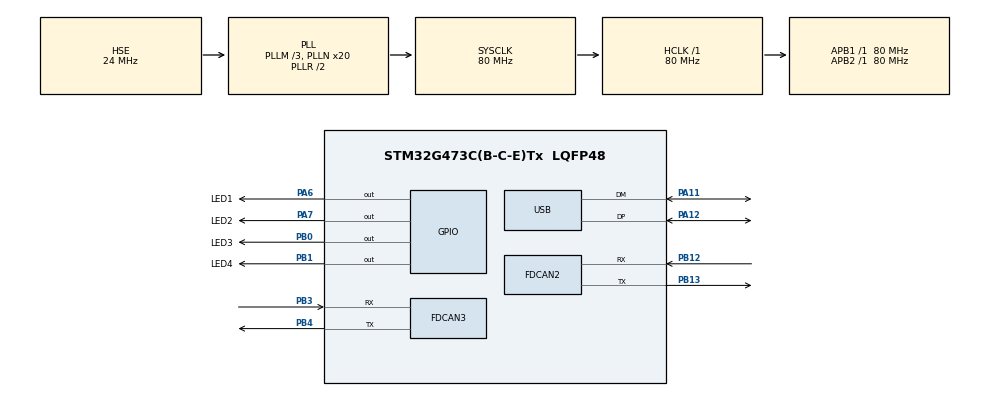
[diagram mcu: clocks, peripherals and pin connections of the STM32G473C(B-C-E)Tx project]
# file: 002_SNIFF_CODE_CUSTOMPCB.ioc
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FDCAN2.AutoRetransmission=ENABLE
FDCAN2.CalculateBaudRateNominal=500000
FDCAN2.CalculateTimeBitNominal=2000
FDCAN2.CalculateTimeQuantumNominal=125.0
FDCAN2.NominalPrescaler=10
FDCAN2.NominalTimeSeg1=13
FDCAN2.NominalTimeSeg2=2
FDCAN2.ProtocolException=ENABLE
FDCAN2.StdFiltersNbr=1
FDCAN3.AutoRetransmission=ENABLE
FDCAN3.CalculateBaudRateNominal=500000
FDCAN3.CalculateTimeBitNominal=2000
FDCAN3.CalculateTimeQuantumNominal=125.0
FDCAN3.NominalPrescaler=10
FDCAN3.NominalTimeSeg1=13
FDCAN3.NominalTimeSeg2=2
FDCAN3.ProtocolException=ENABLE
FDCAN3.StdFiltersNbr=1
Mcu.Family=STM32G4
Mcu.Name=STM32G473C(B-C-E)Tx
Mcu.Package=LQFP48
NVIC.FDCAN2_IT0_IRQn=true\:7\:0\:true\:false\:true\:true\:true\:true
NVIC.FDCAN2_IT1_IRQn=true\:7\:0\:true\:false\:true\:true\:true\:true
NVIC.FDCAN3_IT0_IRQn=true\:7\:0\:true\:false\:true\:true\:true\:true
NVIC.FDCAN3_IT1_IRQn=true\:7\:0\:true\:false\:true\:true\:true\:true
NVIC.PriorityGroup=NVIC_PRIORITYGROUP_4
NVIC.TIM6_DAC_IRQn=true\:15\:0\:false\:false\:true\:false\:true\:true
NVIC.TimeBase=TIM6_DAC_IRQn
NVIC.TimeBaseIP=TIM6
NVIC.USB_LP_IRQn=true\:6\:0\:true\:false\:true\:true\:true\:true
PA11.Mode=Device
PA11.Signal=USB_DM
PA12.Mode=Device
PA12.Signal=USB_DP
PA13.Mode=Serial_Wire
PA13.Signal=SYS_JTMS-SWDIO
PA14.Mode=Serial_Wire
PA14.Signal=SYS_JTCK-SWCLK
PA6.GPIO_Label=LED1
PA6.Signal=GPIO_Output
PA7.GPIO_Label=LED2
PA7.Signal=GPIO_Output
PB0.GPIO_Label=LED3
PB0.Signal=GPIO_Output
PB1.GPIO_Label=LED4
PB1.Signal=GPIO_Output
PB12.Mode=FDCAN_Activate
PB12.Signal=FDCAN2_RX
PB13.Mode=FDCAN_Activate
PB13.Signal=FDCAN2_TX
PB3.Mode=FDCAN_Activate
PB3.Signal=FDCAN3_RX
PB4.Mode=FDCAN_Activate
PB4.Signal=FDCAN3_TX
PF0-OSC_IN.Mode=HSE-External-Oscillator
PF0-OSC_IN.Signal=RCC_OSC_IN
PF1-OSC_OUT.Mode=HSE-External-Oscillator
PF1-OSC_OUT.Signal=RCC_OSC_OUT
ProjectManager.HeapSize=0x200
ProjectManager.StackSize=0x400
ProjectManager.TargetToolchain=STM32CubeIDE
RCC.ADC12Freq_Value=80000000
RCC.ADC345Freq_Value=80000000
RCC.AHBFreq_Value=80000000
RCC.APB1Freq_Value=80000000
RCC.APB1TimFreq_Value=80000000
RCC.APB2Freq_Value=80000000
RCC.APB2TimFreq_Value=80000000
RCC.CK48CLockSelection=RCC_USBCLKSOURCE_HSI48
RCC.CortexFreq_Value=80000000
RCC.EXTERNAL_CLOCK_VALUE=12288000
RCC.HCLKFreq_Value=80000000
RCC.HSE_VALUE=24000000
RCC.HSI48_VALUE=48000000
RCC.HSI_VALUE=16000000
RCC.LSE_VALUE=32768
RCC.PLLM=RCC_PLLM_DIV3
RCC.PLLN=20
RCC.PLLQ=RCC_PLLQ_DIV4
RCC.PLLSourceVirtual=RCC_PLLSOURCE_HSE
RCC.SYSCLKFreq_VALUE=80000000
RCC.SYSCLKSource=RCC_SYSCLKSOURCE_PLLCLK
RCC.USBFreq_Value=48000000
RCC.VCOOutputFreq_Value=160000000
USB_DEVICE.CLASS_NAME_FS=CDC
USB_DEVICE.VirtualMode=Cdc
USB_DEVICE.VirtualModeFS=Cdc_FS
VP_SYS_VS_DBSignals.Mode=DisableDeadBatterySignals
VP_SYS_VS_tim6.Mode=TIM6
VP_USB_DEVICE_VS_USB_DEVICE_CDC_FS.Mode=CDC_FS
board=custom

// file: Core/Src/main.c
/* USER CODE BEGIN Header */
/**
  ******************************************************************************
  * @file           : main.c
  * @brief          : Main program body
  ******************************************************************************
  * @attention
  *
  * Copyright (c) 2025 STMicroelectronics.
  * All rights reserved.
  *
  * This software is licensed under terms that can be found in the LICENSE file
  * in the root directory of this software component.
  * If no LICENSE file comes with this software, it is provided AS-IS.
  *
  ******************************************************************************
  */
/* USER CODE END Header */
#include "main.h"
#include "usb_device.h"

/* USER CODE BEGIN Includes */
#include "FreeRTOS.h"
#include "task.h"
#include "queue.h"
#include "stm32g4xx_hal_fdcan.h"
#include "process.h"
/* USER CODE END Includes */

/* USER CODE BEGIN PD */

#define FILE_BASED	1

/* USER CODE END PD */

FDCAN_HandleTypeDef hfdcan2;
FDCAN_HandleTypeDef hfdcan3;

/* USER CODE BEGIN PV */
//TaskHandle_t	heartbeatTaskHandle;
//TaskHandle_t	usbRxTaskHandle;
//
//QueueHandle_t	usbRxQueue;
//
//QueueHandle_t	canRxQueue;
//
//QueueHandle_t usbTxQueue;
//
//BaseType_t	status;
/* USER CODE END PV */

void SystemClock_Config(void);
static void MX_GPIO_Init(void);
static void MX_FDCAN2_Init(void);
static void MX_FDCAN3_Init(void);
/* USER CODE BEGIN PFP */
//void HeartbeatTask(void *argument);
//void UsbRxTask(void *argument);
/* USER CODE END PFP */

/* USER CODE BEGIN 0 */

#ifndef FILE_BASED

typedef struct{
	uint32_t id;
	uint8_t dlc;
	uint8_t data[8];
}CANFrame_t;

void HeartbeatTask(void *argument)
{
	(void)argument;

	for(;;)
	{
		HAL_GPIO_TogglePin(LED4_GPIO_Port, LED4_Pin);
		vTaskDelay(pdMS_TO_TICKS(1000));
	}
}

void UsbRxTask(void *argument)
{
	(void)argument;
	uint8_t cmdByte;

	for(;;)
	{
		if (xQueueReceive(usbRxQueue, &cmdByte, portMAX_DELAY)==pdPASS)
		{
			if(cmdByte == 0x10) // Get Device Info
			{
				HAL_GPIO_WritePin(LED1_GPIO_Port, LED1_Pin, GPIO_PIN_SET);
				uint8_t resp[]	=	{ 'T','E','S','T','1','C','H',0x55	};

				while (CDC_Transmit_FS(resp, sizeof(resp))==USBD_BUSY)
				{
					vTaskDelay(pdMS_TO_TICKS(5));
				}
			}

			else if(cmdByte == 0x20) // Disconnect command
			{
			    HAL_GPIO_WritePin(LED1_GPIO_Port, LED1_Pin, GPIO_PIN_RESET);
			}

			else if (cmdByte == 0x30) // CAN TX message
			{
			    uint8_t buf[13];
			    for(int i=0;i<13;i++)
			       xQueueReceive(usbRxQueue,&buf[i],portMAX_DELAY);

			    uint32_t canId = buf[0] | (buf[1]<<8) | (buf[2]<<16) | (buf[3]<<24);
			    uint8_t dlc = buf[4];

				uint32_t dlcEncoded;

				switch(dlc) {
				    case 0: dlcEncoded = FDCAN_DLC_BYTES_0; break;
				    case 1: dlcEncoded = FDCAN_DLC_BYTES_1; break;
				    case 2: dlcEncoded = FDCAN_DLC_BYTES_2; break;
				    case 3: dlcEncoded = FDCAN_DLC_BYTES_3; break;
				    case 4: dlcEncoded = FDCAN_DLC_BYTES_4; break;
				    case 5: dlcEncoded = FDCAN_DLC_BYTES_5; break;
				    case 6: dlcEncoded = FDCAN_DLC_BYTES_6; break;
				    case 7: dlcEncoded = FDCAN_DLC_BYTES_7; break;
				    default: dlcEncoded = FDCAN_DLC_BYTES_8; break;
				}

			    FDCAN_TxHeaderTypeDef TxHeader;
			    TxHeader.Identifier = canId;
			    TxHeader.IdType = FDCAN_STANDARD_ID;
			    TxHeader.TxFrameType = FDCAN_DATA_FRAME;
			    TxHeader.DataLength = dlcEncoded;
			    TxHeader.ErrorStateIndicator = FDCAN_ESI_ACTIVE;
			    TxHeader.BitRateSwitch = FDCAN_BRS_OFF;
			    TxHeader.FDFormat = FDCAN_CLASSIC_CAN;
			    TxHeader.TxEventFifoControl = FDCAN_NO_TX_EVENTS;
			    TxHeader.MessageMarker = 0;

			    HAL_FDCAN_AddMessageToTxFifoQ(&hfdcan3, &TxHeader, &buf[5]);

			}

			// ADD more command if needed
		}
	}
}

void UsbTxTask(void *argument)
{
    uint8_t resp[14];

    for(;;)
    {
        if (xQueueReceive(usbTxQueue, resp, portMAX_DELAY) == pdPASS)
        {
            // Wait until USB is ready
            while (CDC_Transmit_FS(resp, 14) == USBD_BUSY)
            {
                vTaskDelay(pdMS_TO_TICKS(1));
            }
        }
    }
}

void CAN_RxTask(void *argument)
{
    CANFrame_t frame;
    uint8_t resp[14];

    resp[0] = 0x31; // CAN RX

    for (;;)
    {
        if (xQueueReceive(canRxQueue, &frame, portMAX_DELAY) == pdPASS)
        {
            resp[1] = (frame.id      ) & 0xFF;
            resp[2] = (frame.id >> 8 ) & 0xFF;
            resp[3] = (frame.id >> 16) & 0xFF;
            resp[4] = (frame.id >> 24) & 0xFF;
            resp[5] = frame.dlc;
            memcpy(&resp[6], frame.data, 8);

//            while(CDC_Transmit_FS(resp, 14) == USBD_BUSY)
//                vTaskDelay(pdMS_TO_TICKS(2));
            xQueueSend(usbTxQueue, resp, 0);
        }
    }
}

#endif

void HAL_FDCAN_RxFifo0Callback(FDCAN_HandleTypeDef *hfdcan, uint32_t RxFifo0ITs)
{
    if((RxFifo0ITs & FDCAN_IT_RX_FIFO0_NEW_MESSAGE) != 0)
    {
        FDCAN_RxHeaderTypeDef rxHeader;
        uint8_t rxData[8];
        CANFrame_t frame;

        HAL_FDCAN_GetRxMessage(hfdcan, FDCAN_RX_FIFO0, &rxHeader, rxData);

        frame.id = rxHeader.Identifier;

        // Decode DLC properly
        switch(rxHeader.DataLength) {
            case FDCAN_DLC_BYTES_0: frame.dlc = 0; break;
            case FDCAN_DLC_BYTES_1: frame.dlc = 1; break;
            case FDCAN_DLC_BYTES_2: frame.dlc = 2; break;
            case FDCAN_DLC_BYTES_3: frame.dlc = 3; break;
            case FDCAN_DLC_BYTES_4: frame.dlc = 4; break;
            case FDCAN_DLC_BYTES_5: frame.dlc = 5; break;
            case FDCAN_DLC_BYTES_6: frame.dlc = 6; break;
            case FDCAN_DLC_BYTES_7: frame.dlc = 7; break;
            case FDCAN_DLC_BYTES_8: frame.dlc = 8; break;
            default: frame.dlc = 0; break;
        }

        memcpy(frame.data, rxData, 8);

        xQueueSendFromISR(canRxQueue, &frame, NULL);
    }
}

/* USER CODE END 0 */

int main(void)
{

  /* MCU Configuration--------------------------------------------------------*/

  /* Reset of all peripherals, Initializes the Flash interface and the Systick. */
  HAL_Init();

  /* Configure the system clock */
  SystemClock_Config();

  /* Initialize all configured peripherals */
  MX_GPIO_Init();
  MX_FDCAN2_Init();
  MX_FDCAN3_Init();
  MX_USB_Device_Init();
  /* USER CODE BEGIN 2 */
  HAL_FDCAN_ActivateNotification(&hfdcan3,
                                 FDCAN_IT_RX_FIFO0_NEW_MESSAGE,
                                 0);

  if (HAL_FDCAN_Start(&hfdcan3) != HAL_OK)
  {
      Error_Handler();
  }

//  usbRxQueue =	xQueueCreate(32,sizeof(uint8_t));
//  configASSERT(usbRxQueue != NULL);
//
//  usbTxQueue = xQueueCreate(128, 14);
//  configASSERT(usbTxQueue != NULL);
//
//  canRxQueue	=	xQueueCreate(16,sizeof(CANFrame_t));
//  configASSERT(canRxQueue != NULL);
//
//  xTaskCreate(HeartbeatTask, "HeartBeat", 128, NULL, tskIDLE_PRIORITY+1, &heartbeatTaskHandle);
//
//  xTaskCreate(UsbRxTask, "USB RX", 256, NULL, tskIDLE_PRIORITY+2, &usbRxTaskHandle);
//
//  xTaskCreate(UsbTxTask, "USB_TX", 256, NULL, tskIDLE_PRIORITY+2, NULL);
//
//  xTaskCreate(CAN_RxTask, "CAN RX", 256, NULL, tskIDLE_PRIORITY+2, NULL);

  process_init();

  //Start the scheduler
  vTaskStartScheduler();

  /* USER CODE END 2 */

  /* Infinite loop */
  while (1)
  {

  }
}

void SystemClock_Config(void)
{
  RCC_OscInitTypeDef RCC_OscInitStruct = {0};
  RCC_ClkInitTypeDef RCC_ClkInitStruct = {0};

  /** Configure the main internal regulator output voltage
  */
  HAL_PWREx_ControlVoltageScaling(PWR_REGULATOR_VOLTAGE_SCALE1);

  /** Initializes the RCC Oscillators according to the specified parameters
  * in the RCC_OscInitTypeDef structure.
  */
  RCC_OscInitStruct.OscillatorType = RCC_OSCILLATORTYPE_HSI48|RCC_OSCILLATORTYPE_HSE;
  RCC_OscInitStruct.HSEState = RCC_HSE_ON;
  RCC_OscInitStruct.HSI48State = RCC_HSI48_ON;
  RCC_OscInitStruct.PLL.PLLState = RCC_PLL_ON;
  RCC_OscInitStruct.PLL.PLLSource = RCC_PLLSOURCE_HSE;
  RCC_OscInitStruct.PLL.PLLM = RCC_PLLM_DIV3;
  RCC_OscInitStruct.PLL.PLLN = 20;
  RCC_OscInitStruct.PLL.PLLP = RCC_PLLP_DIV2;
  RCC_OscInitStruct.PLL.PLLQ = RCC_PLLQ_DIV4;
  RCC_OscInitStruct.PLL.PLLR = RCC_PLLR_DIV2;
  if (HAL_RCC_OscConfig(&RCC_OscInitStruct) != HAL_OK)
  {
    Error_Handler();
  }

  /** Initializes the CPU, AHB and APB buses clocks
  */
  RCC_ClkInitStruct.ClockType = RCC_CLOCKTYPE_HCLK|RCC_CLOCKTYPE_SYSCLK
                              |RCC_CLOCKTYPE_PCLK1|RCC_CLOCKTYPE_PCLK2;
  RCC_ClkInitStruct.SYSCLKSource = RCC_SYSCLKSOURCE_PLLCLK;
  RCC_ClkInitStruct.AHBCLKDivider = RCC_SYSCLK_DIV1;
  RCC_ClkInitStruct.APB1CLKDivider = RCC_HCLK_DIV1;
  RCC_ClkInitStruct.APB2CLKDivider = RCC_HCLK_DIV1;

  if (HAL_RCC_ClockConfig(&RCC_ClkInitStruct, FLASH_LATENCY_2) != HAL_OK)
  {
    Error_Handler();
  }
}

static void MX_FDCAN2_Init(void)
{

  hfdcan2.Instance = FDCAN2;
  hfdcan2.Init.ClockDivider = FDCAN_CLOCK_DIV1;
  hfdcan2.Init.FrameFormat = FDCAN_FRAME_CLASSIC;
  hfdcan2.Init.Mode = FDCAN_MODE_NORMAL;
  hfdcan2.Init.AutoRetransmission = ENABLE;
  hfdcan2.Init.TransmitPause = DISABLE;
  hfdcan2.Init.ProtocolException = ENABLE;
  hfdcan2.Init.NominalPrescaler = 10;
  hfdcan2.Init.NominalSyncJumpWidth = 1;
  hfdcan2.Init.NominalTimeSeg1 = 13;
  hfdcan2.Init.NominalTimeSeg2 = 2;
  hfdcan2.Init.DataPrescaler = 1;
  hfdcan2.Init.DataSyncJumpWidth = 1;
  hfdcan2.Init.DataTimeSeg1 = 1;
  hfdcan2.Init.DataTimeSeg2 = 1;
  hfdcan2.Init.StdFiltersNbr = 1;
  hfdcan2.Init.ExtFiltersNbr = 0;
  hfdcan2.Init.TxFifoQueueMode = FDCAN_TX_FIFO_OPERATION;
  if (HAL_FDCAN_Init(&hfdcan2) != HAL_OK)
  {
    Error_Handler();
  }
  /* USER CODE BEGIN FDCAN2_Init 2 */
  FDCAN_FilterTypeDef sFilterConfig = {0};
  sFilterConfig.IdType = FDCAN_STANDARD_ID;
  sFilterConfig.FilterIndex = 0;
  sFilterConfig.FilterType = FDCAN_FILTER_RANGE;
  sFilterConfig.FilterConfig = FDCAN_FILTER_TO_RXFIFO0;
  sFilterConfig.FilterID1 = 0x000;
  sFilterConfig.FilterID2 = 0x7FF;
  HAL_FDCAN_ConfigFilter(&hfdcan2, &sFilterConfig);
  HAL_FDCAN_ConfigGlobalFilter(&hfdcan2,
                               FDCAN_REJECT,
                               FDCAN_REJECT,
                               FDCAN_FILTER_REMOTE,
                               FDCAN_FILTER_REMOTE);
  /* USER CODE END FDCAN2_Init 2 */

}

static void MX_FDCAN3_Init(void)
{

  hfdcan3.Instance = FDCAN3;
  hfdcan3.Init.ClockDivider = FDCAN_CLOCK_DIV1;
  hfdcan3.Init.FrameFormat = FDCAN_FRAME_CLASSIC;
  hfdcan3.Init.Mode = FDCAN_MODE_NORMAL;
  hfdcan3.Init.AutoRetransmission = ENABLE;
  hfdcan3.Init.TransmitPause = DISABLE;
  hfdcan3.Init.ProtocolException = ENABLE;
  hfdcan3.Init.NominalPrescaler = 10;
  hfdcan3.Init.NominalSyncJumpWidth = 1;
  hfdcan3.Init.NominalTimeSeg1 = 13;
  hfdcan3.Init.NominalTimeSeg2 = 2;
  hfdcan3.Init.DataPrescaler = 1;
  hfdcan3.Init.DataSyncJumpWidth = 1;
  hfdcan3.Init.DataTimeSeg1 = 1;
  hfdcan3.Init.DataTimeSeg2 = 1;
  hfdcan3.Init.StdFiltersNbr = 1;
  hfdcan3.Init.ExtFiltersNbr = 0;
  hfdcan3.Init.TxFifoQueueMode = FDCAN_TX_FIFO_OPERATION;
  if (HAL_FDCAN_Init(&hfdcan3) != HAL_OK)
  {
    Error_Handler();
  }
  /* USER CODE BEGIN FDCAN3_Init 2 */
  FDCAN_FilterTypeDef sFilterConfig = {0};
  sFilterConfig.IdType = FDCAN_STANDARD_ID;
  sFilterConfig.FilterIndex = 0;
  sFilterConfig.FilterType = FDCAN_FILTER_RANGE;
  sFilterConfig.FilterConfig = FDCAN_FILTER_TO_RXFIFO0;
  sFilterConfig.FilterID1 = 0x000;
  sFilterConfig.FilterID2 = 0x7FF;
  HAL_FDCAN_ConfigFilter(&hfdcan3, &sFilterConfig);
  HAL_FDCAN_ConfigGlobalFilter(&hfdcan3,
                               FDCAN_REJECT,
                               FDCAN_REJECT,
                               FDCAN_FILTER_REMOTE,
                               FDCAN_FILTER_REMOTE);
  /* USER CODE END FDCAN3_Init 2 */

}

static void MX_GPIO_Init(void)
{
  GPIO_InitTypeDef GPIO_InitStruct = {0};

  /* GPIO Ports Clock Enable */
  __HAL_RCC_GPIOF_CLK_ENABLE();
  __HAL_RCC_GPIOA_CLK_ENABLE();
  __HAL_RCC_GPIOB_CLK_ENABLE();

  /*Configure GPIO pin Output Level */
  HAL_GPIO_WritePin(GPIOA, LED1_Pin|LED2_Pin, GPIO_PIN_RESET);

  /*Configure GPIO pin Output Level */
  HAL_GPIO_WritePin(GPIOB, LED3_Pin|LED4_Pin, GPIO_PIN_RESET);

  /*Configure GPIO pins : LED1_Pin LED2_Pin */
  GPIO_InitStruct.Pin = LED1_Pin|LED2_Pin;
  GPIO_InitStruct.Mode = GPIO_MODE_OUTPUT_PP;
  GPIO_InitStruct.Pull = GPIO_NOPULL;
  GPIO_InitStruct.Speed = GPIO_SPEED_FREQ_LOW;
  HAL_GPIO_Init(GPIOA, &GPIO_InitStruct);

  /*Configure GPIO pins : LED3_Pin LED4_Pin */
  GPIO_InitStruct.Pin = LED3_Pin|LED4_Pin;
  GPIO_InitStruct.Mode = GPIO_MODE_OUTPUT_PP;
  GPIO_InitStruct.Pull = GPIO_NOPULL;
  GPIO_InitStruct.Speed = GPIO_SPEED_FREQ_LOW;
  HAL_GPIO_Init(GPIOB, &GPIO_InitStruct);

}

void HAL_TIM_PeriodElapsedCallback(TIM_HandleTypeDef *htim)
{
  if (htim->Instance == TIM6)
  {
    HAL_IncTick();
  }
}

void Error_Handler(void)
{
  __disable_irq();
  while (1)
  {
  }
}
